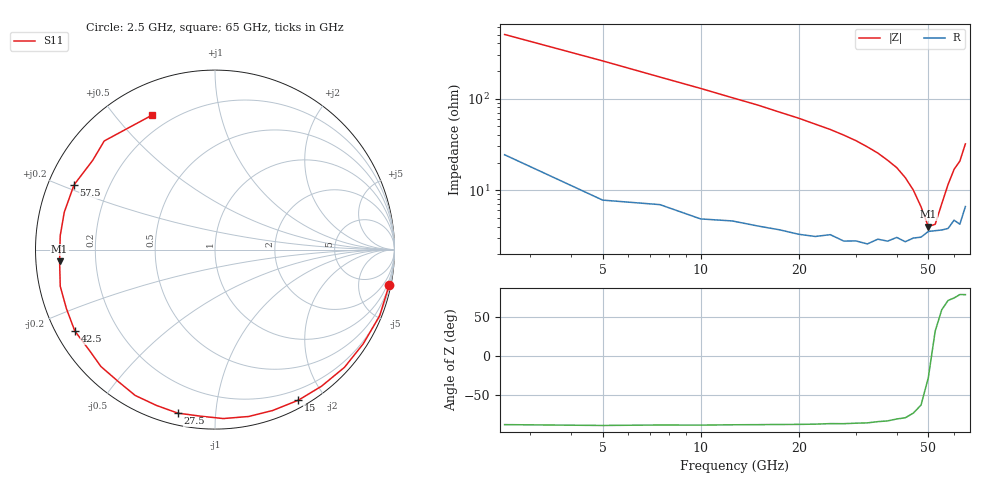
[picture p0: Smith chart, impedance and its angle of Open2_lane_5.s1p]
! File created by SignalIntegrity v1.5.1: Signal and Power Integrity Tools
! https://github.com/Nubis-Communications/SignalIntegrity
# MHz S MA R 50.0
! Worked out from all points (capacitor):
!   26 points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, 2.5 GHz to 65 GHz, reference 50 ohm
!   read as one part to ground: C = 122 fF near 2.5 GHz
!   lowest |Z| = 4 ohm at 50 GHz (marker M1)
!   series resonance near 51.14 GHz, so ESL is about 79 pH
!   S11 on the Smith chart (normalised r, x): 2.5 GHz: 0, -10; 15 GHz: 0.08, -1.69; 27.5 GHz: 0.06, -0.80; 42.5 GHz: 0.05, -0.27; 57.5 GHz: 0.08, +0.22; 65 GHz: 0.13, +0.63
2500  0.9905 -11.4
5000  0.9888 -21.9
7500  0.9786 -32.4
10000  0.9751 -42.3
12500  0.9651 -52.1
15000  0.9591 -61.0
17500  0.9523 -70.3
20000  0.9485 -78.6
22500  0.9424 -87.2
25000  0.9317 -94.8
27500  0.9343 -102.8
30000  0.9274 -110.6
32500  0.9263 -118.7
35000  0.9114 -126.3
37500  0.9101 -134.3
40000  0.897 -141.6
42500  0.9031 -149.9
45000  0.8907 -158.4
47500  0.8861 -166.7
50000  0.8681 -175.7
52500  0.8658 174.9
55000  0.8652 166.1
57500  0.8643 155.3
60000  0.8435 143.9
62500  0.8644 135.6
65000  0.8271 115.2
